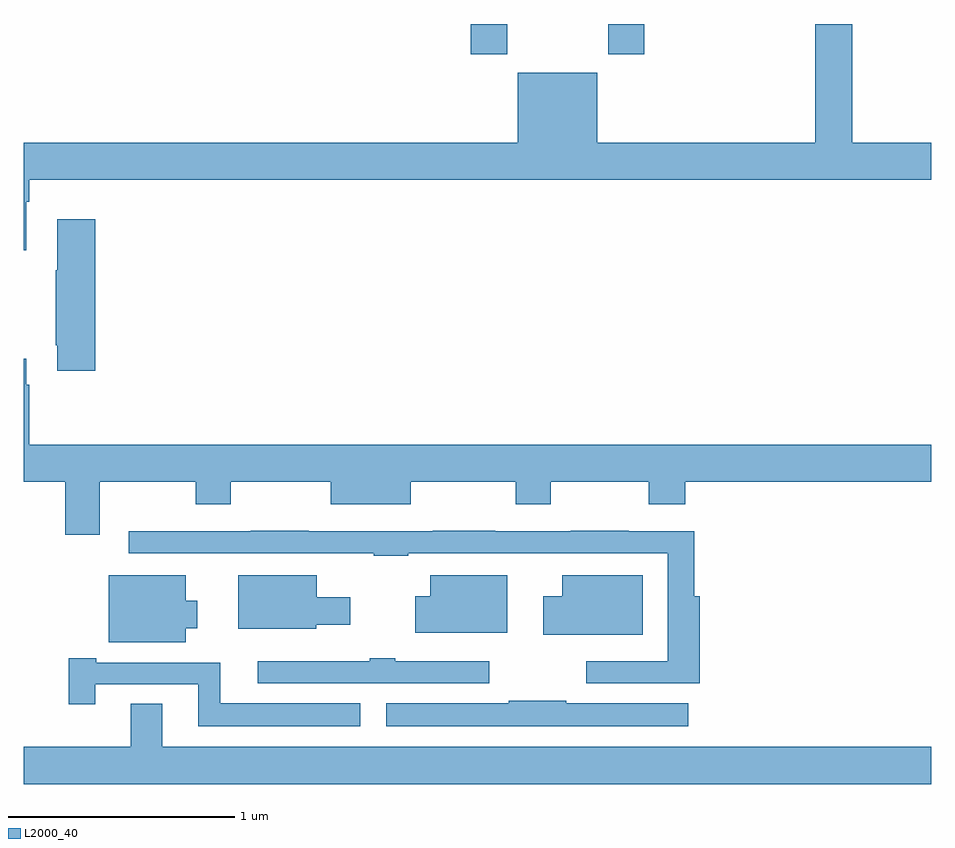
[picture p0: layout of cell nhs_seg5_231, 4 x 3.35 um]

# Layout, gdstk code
import gdstk
lib = gdstk.Library(unit=1e-6, precision=1e-09)
def R(c, l, rs):  # rectangles x0, y0, x1, y1
    for r in rs: c.add(gdstk.rectangle(r[:2], r[2:], *l))
def P(c, l, *ps):  # polygons
    for p in ps: c.add(gdstk.Polygon(p, *l))
L2000_40 = (2000, 40)

nhs_seg5_231 = lib.new_cell('nhs_seg5_231')
R(nhs_seg5_231, L2000_40, [(126.971,838.665,127.131,838.799), (127.576,838.665,127.736,838.799)])
P(nhs_seg5_231, L2000_40, [(125,837.801),(125.011,837.801),(125.011,838.016),(125.024,838.016),(125.024,838.112),(129,838.112),(129,838.276),(128.653,838.276),(128.653,838.799),(128.489,838.799),(128.489,838.276),(127.528,838.276),(127.528,838.585),(127.178,838.585),(127.178,838.276),(125,838.276)],
  [(125.315,837.937),(125.147,837.937),(125.147,837.713),(125.14,837.713),(125.14,837.382),(125.147,837.382),(125.147,837.27),(125.315,837.27)],
  [(125.335,836.78),(125.758,836.78),(125.758,836.681),(125.913,836.681),(125.913,836.78),(126.353,836.78),(126.353,836.681),(126.706,836.681),(126.706,836.78),(127.168,836.78),(127.168,836.681),(127.323,836.681),(127.323,836.78),(127.756,836.78),(127.756,836.681),(127.916,836.681),(127.916,836.78),(129,836.78),(129,836.944),(125.024,836.944),(125.024,837.209),(125.011,837.209),(125.011,837.322),(125,837.322),(125,836.78),(125.183,836.78),(125.183,836.547),(125.335,836.547)],
  [(127.979,836.275),(127.955,836.275),(127.955,836.562),(127.667,836.562),(127.667,836.564),(127.411,836.564),(127.411,836.562),(127.079,836.562),(127.079,836.564),(126.802,836.564),(126.802,836.562),(126.257,836.562),(126.257,836.564),(126.001,836.564),(126.001,836.562),(125.463,836.562),(125.463,836.466),(126.388,836.466),(126.388,836.465),(126.542,836.465),(126.542,836.454),(126.695,836.454),(126.695,836.466),(127.839,836.466),(127.839,835.989),(127.479,835.989),(127.479,835.893),(127.979,835.893)],
  [(127.132,836.368),(126.791,836.368),(126.791,836.275),(126.726,836.275),(126.726,836.114),(127.132,836.114)],
  [(126.288,836.15),(126.439,836.15),(126.439,836.272),(126.292,836.272),(126.292,836.368),(125.945,836.368),(125.945,836.132),(126.288,836.132)],
  [(125.713,836.135),(125.764,836.135),(125.764,836.257),(125.713,836.257),(125.713,836.368),(125.375,836.368),(125.375,836.072),(125.713,836.072)],
  [(127.729,836.368),(127.373,836.368),(127.373,836.275),(127.289,836.275),(127.289,836.105),(127.729,836.105)],
  [(126.484,835.804),(125.866,835.804),(125.866,835.983),(125.32,835.983),(125.32,836.003),(125.197,836.003),(125.197,835.8),(125.314,835.8),(125.314,835.887),(125.768,835.887),(125.768,835.703),(126.484,835.703)],
  [(127.051,835.989),(126.638,835.989),(126.638,836.002),(126.526,836.002),(126.526,835.99),(126.03,835.99),(126.03,835.893),(127.051,835.893)],
  [(127.93,835.804),(127.391,835.804),(127.391,835.814),(127.138,835.814),(127.138,835.804),(126.597,835.804),(126.597,835.703),(127.93,835.703)],
  [(129,835.612),(125.611,835.612),(125.611,835.802),(125.471,835.802),(125.471,835.612),(125,835.612),(125,835.448),(129,835.448)])

lib.write_gds('nhs_seg5_231.gds')
